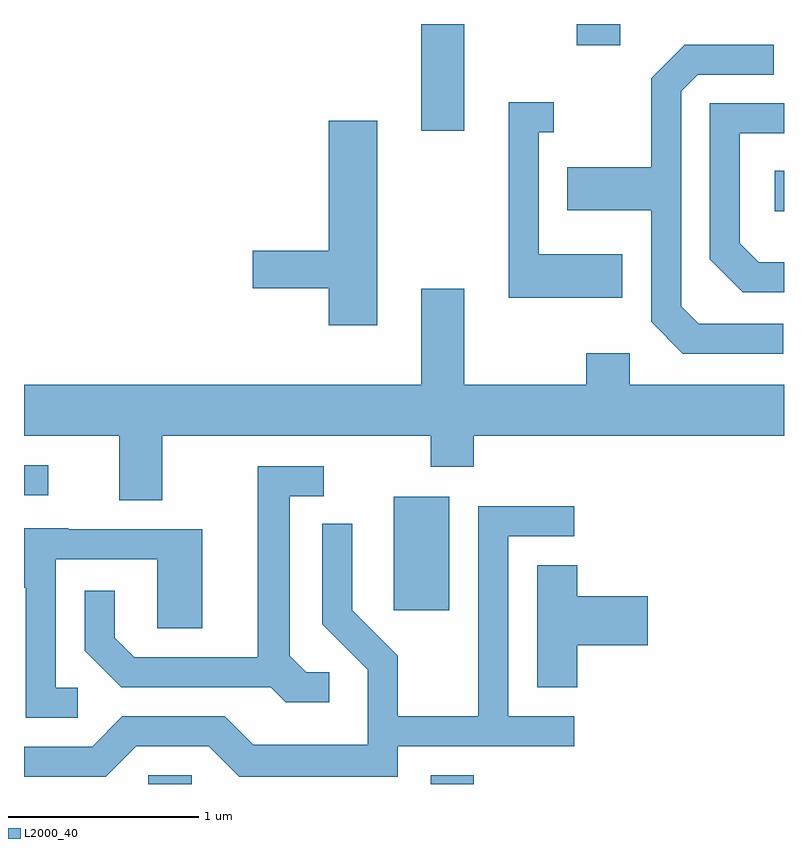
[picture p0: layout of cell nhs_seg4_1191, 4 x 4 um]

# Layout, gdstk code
import gdstk
lib = gdstk.Library(unit=1e-6, precision=1e-09)
def R(c, l, rs):  # rectangles x0, y0, x1, y1
    for r in rs: c.add(gdstk.rectangle(r[:2], r[2:], *l))
def P(c, l, *ps):  # polygons
    for p in ps: c.add(gdstk.Polygon(p, *l))
L2000_40 = (2000, 40)

nhs_seg4_1191 = lib.new_cell('nhs_seg4_1191')
R(nhs_seg4_1191, L2000_40, [(220.266,1323.982,220.494,1324.029), (221.751,1323.982,221.979,1324.029), (221.556,1324.896,221.849,1325.494), (219.611,1325.501,219.738,1325.659), (223.561,1326.996,223.611,1327.209), (221.701,1327.421,221.929,1327.982), (222.521,1327.871,222.749,1327.982)])
P(nhs_seg4_1191, L2000_40, [(223.608,1326.404),(223.162,1326.404),(223.069,1326.497),(223.069,1327.629),(223.157,1327.716),(223.558,1327.716),(223.558,1327.874),(223.089,1327.874),(222.911,1327.697),(222.911,1327.229),(222.471,1327.229),(222.471,1327.001),(222.911,1327.001),(222.911,1326.414),(223.079,1326.246),(223.608,1326.246)],
  [(222.759,1326.769),(222.319,1326.769),(222.319,1327.411),(222.398,1327.411),(222.398,1327.569),(222.161,1327.569),(222.161,1326.541),(222.759,1326.541)],
  [(223.611,1326.729),(223.477,1326.729),(223.379,1326.827),(223.379,1327.406),(223.611,1327.406),(223.611,1327.564),(223.221,1327.564),(223.221,1326.744),(223.394,1326.571),(223.611,1326.571)],
  [(221.469,1327.474),(221.216,1327.474),(221.216,1326.789),(220.816,1326.789),(220.816,1326.591),(221.216,1326.591),(221.216,1326.396),(221.469,1326.396)],
  [(220.339,1325.816),(221.751,1325.816),(221.751,1325.651),(221.979,1325.651),(221.979,1325.816),(223.611,1325.816),(223.611,1326.084),(222.799,1326.084),(222.799,1326.249),(222.571,1326.249),(222.571,1326.084),(221.929,1326.084),(221.929,1326.589),(221.701,1326.589),(221.701,1326.084),(219.611,1326.084),(219.611,1325.816),(220.111,1325.816),(220.111,1325.476),(220.339,1325.476)],
  [(221.218,1324.569),(221.097,1324.569),(221.009,1324.657),(221.009,1325.496),(221.188,1325.496),(221.188,1325.654),(220.841,1325.654),(220.841,1324.649),(220.192,1324.649),(220.089,1324.752),(220.089,1324.998),(219.931,1324.998),(219.931,1324.684),(220.124,1324.491),(220.909,1324.491),(220.989,1324.411),(221.218,1324.411)],
  [(220.202,1324.181),(220.584,1324.181),(220.744,1324.021),(221.579,1324.021),(221.579,1324.181),(222.508,1324.181),(222.508,1324.339),(222.159,1324.339),(222.159,1325.286),(222.508,1325.286),(222.508,1325.444),(222.001,1325.444),(222.001,1324.339),(221.579,1324.339),(221.579,1324.657),(221.339,1324.897),(221.339,1325.353),(221.181,1325.353),(221.181,1324.824),(221.421,1324.584),(221.421,1324.189),(220.817,1324.189),(220.667,1324.339),(220.129,1324.339),(219.969,1324.179),(219.611,1324.179),(219.611,1324.021),(220.042,1324.021)],
  [(219.893,1324.489),(219.779,1324.489),(219.779,1325.166),(220.311,1325.166),(220.311,1324.801),(220.549,1324.801),(220.549,1325.324),(219.845,1325.324),(219.845,1325.329),(219.611,1325.329),(219.611,1325.016),(219.621,1325.016),(219.621,1324.331),(219.893,1324.331)],
  [(222.524,1324.711),(222.894,1324.711),(222.894,1324.969),(222.524,1324.969),(222.524,1325.134),(222.311,1325.134),(222.311,1324.491),(222.524,1324.491)])

lib.write_gds('nhs_seg4_1191.gds')
